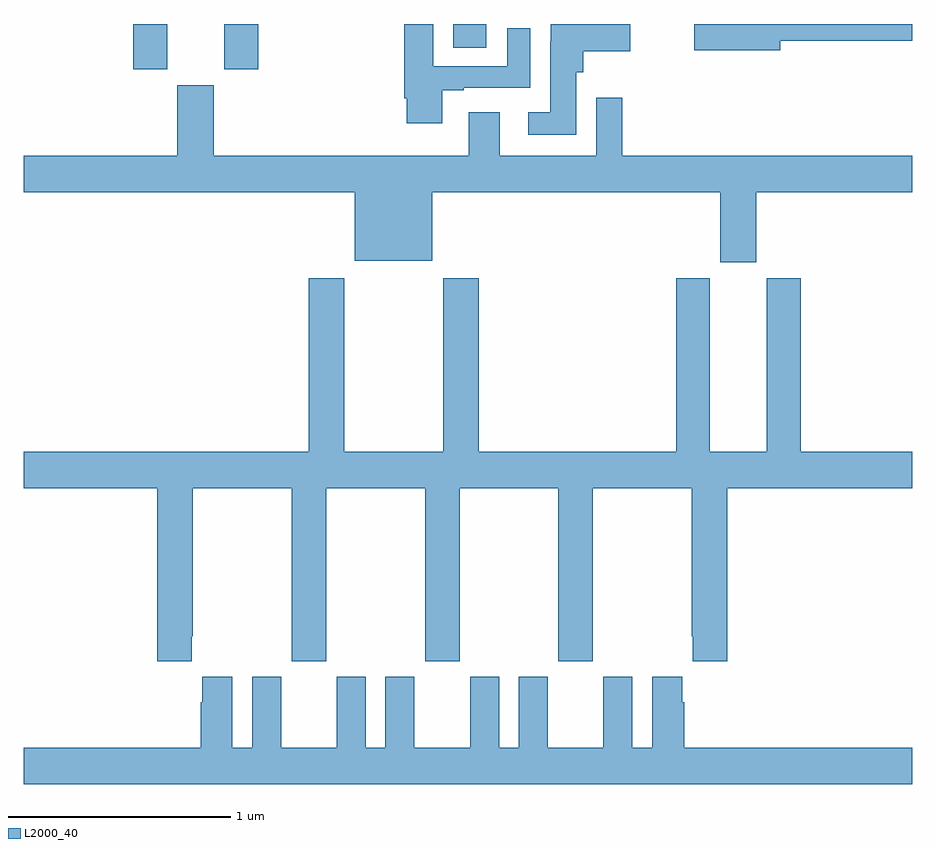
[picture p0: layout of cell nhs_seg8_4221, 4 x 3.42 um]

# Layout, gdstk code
import gdstk
lib = gdstk.Library(unit=1e-6, precision=1e-09)
def R(c, l, rs):  # rectangles x0, y0, x1, y1
    for r in rs: c.add(gdstk.rectangle(r[:2], r[2:], *l))
def P(c, l, *ps):  # polygons
    for p in ps: c.add(gdstk.Polygon(p, *l))
L2000_40 = (2000, 40)

nhs_seg8_4221 = lib.new_cell('nhs_seg8_4221')
R(nhs_seg8_4221, L2000_40, [(369.494,1139.697,369.646,1139.9), (369.902,1139.697,370.055,1139.9), (370.934,1139.794,371.083,1139.9)])
P(nhs_seg8_4221, L2000_40, [(372.406,1139.824),(373,1139.824),(373,1139.9),(372.018,1139.9),(372.018,1139.782),(372.406,1139.782)],
  [(370.885,1139.601),(370.981,1139.601),(370.981,1139.613),(371.281,1139.613),(371.281,1139.881),(371.177,1139.881),(371.177,1139.709),(370.843,1139.709),(370.843,1139.9),(370.712,1139.9),(370.712,1139.566),(370.724,1139.566),(370.724,1139.454),(370.885,1139.454)],
  [(371.488,1139.682),(371.519,1139.682),(371.519,1139.777),(371.731,1139.777),(371.731,1139.9),(371.373,1139.9),(371.373,1139.822),(371.369,1139.822),(371.369,1139.503),(371.271,1139.503),(371.271,1139.402),(371.488,1139.402)],
  [(372.298,1139.144),(373,1139.144),(373,1139.308),(371.693,1139.308),(371.693,1139.569),(371.577,1139.569),(371.577,1139.308),(371.143,1139.308),(371.143,1139.503),(371.003,1139.503),(371.003,1139.308),(369.856,1139.308),(369.856,1139.625),(369.692,1139.625),(369.692,1139.308),(369,1139.308),(369,1139.144),(370.49,1139.144),(370.49,1138.835),(370.84,1138.835),(370.84,1139.144),(372.134,1139.144),(372.134,1138.827),(372.298,1138.827)],
  [(369.757,1137.145),(369.762,1137.145),(369.762,1137.812),(370.207,1137.812),(370.207,1137.033),(370.362,1137.033),(370.362,1137.812),(370.807,1137.812),(370.807,1137.033),(370.962,1137.033),(370.962,1137.812),(371.407,1137.812),(371.407,1137.033),(371.562,1137.033),(371.562,1137.812),(372.007,1137.812),(372.007,1137.145),(372.011,1137.145),(372.011,1137.033),(372.167,1137.033),(372.167,1137.812),(373,1137.812),(373,1137.976),(372.497,1137.976),(372.497,1138.755),(372.344,1138.755),(372.344,1137.976),(372.088,1137.976),(372.088,1138.755),(371.936,1138.755),(371.936,1137.976),(371.048,1137.976),(371.048,1138.756),(370.888,1138.756),(370.888,1137.976),(370.443,1137.976),(370.443,1138.756),(370.283,1138.756),(370.283,1137.976),(369,1137.976),(369,1137.812),(369.602,1137.812),(369.602,1137.033),(369.757,1137.033)],
  [(373,1136.644),(371.972,1136.644),(371.972,1136.849),(371.965,1136.849),(371.965,1136.962),(371.828,1136.962),(371.828,1136.644),(371.74,1136.644),(371.74,1136.962),(371.609,1136.962),(371.609,1136.644),(371.359,1136.644),(371.359,1136.962),(371.228,1136.962),(371.228,1136.644),(371.14,1136.644),(371.14,1136.962),(371.009,1136.962),(371.009,1136.644),(370.759,1136.644),(370.759,1136.962),(370.628,1136.962),(370.628,1136.644),(370.54,1136.644),(370.54,1136.962),(370.409,1136.962),(370.409,1136.644),(370.159,1136.644),(370.159,1136.962),(370.028,1136.962),(370.028,1136.644),(369.94,1136.644),(369.94,1136.962),(369.803,1136.962),(369.803,1136.849),(369.797,1136.849),(369.797,1136.644),(369,1136.644),(369,1136.48),(373,1136.48)])

lib.write_gds('nhs_seg8_4221.gds')
